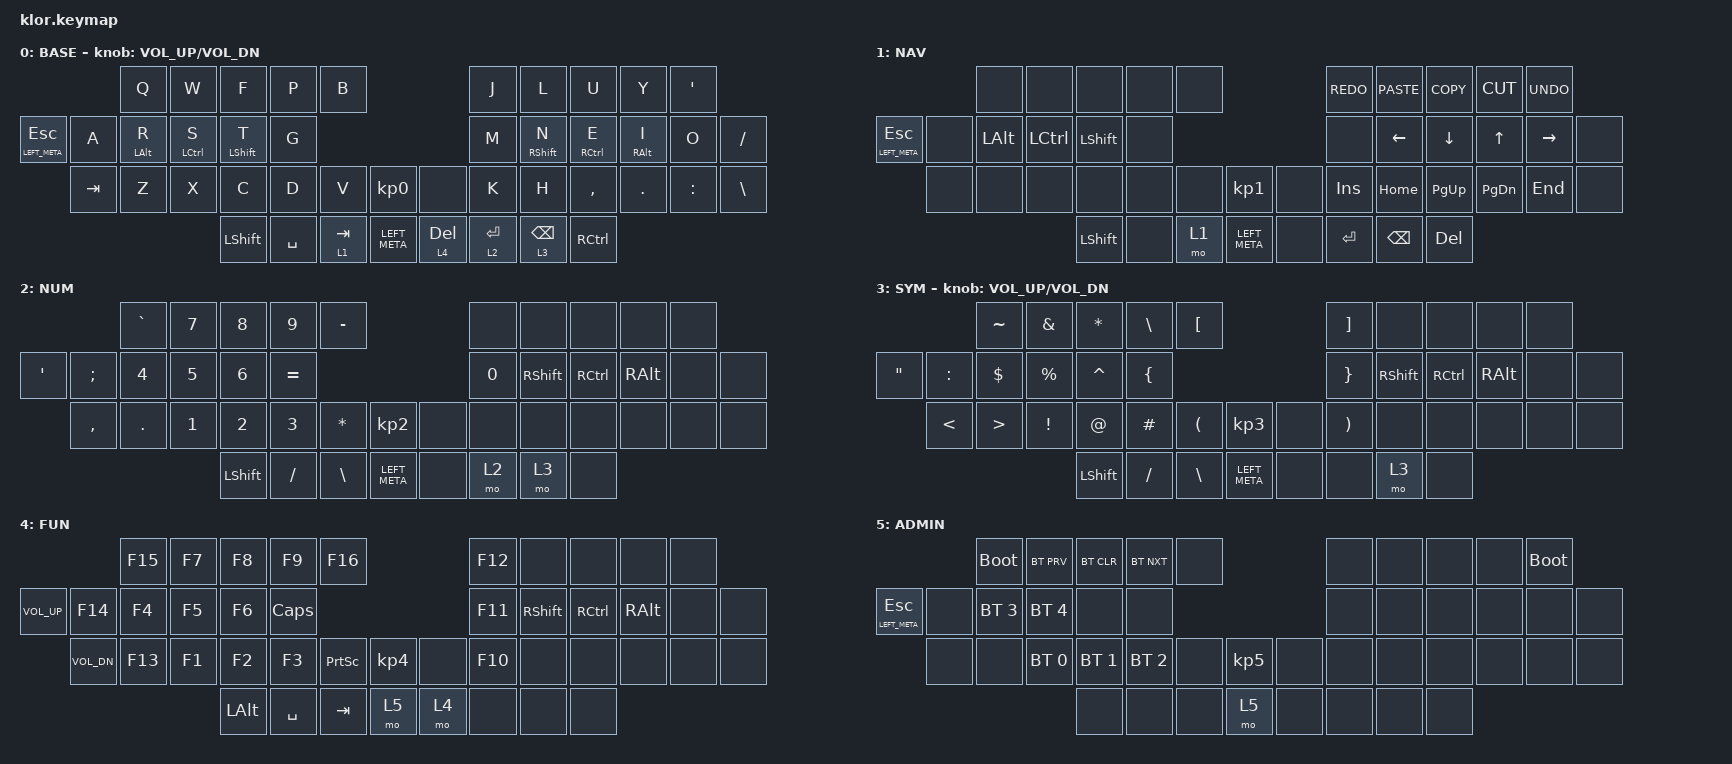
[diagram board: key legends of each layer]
//                               █         █    █            ▄▄▄▀▀▀▀▀▀▄▄▄        █▀▀▀▀▀▀▀▀▀▀█
//                               █        █     █          ▄▀            ▀▄      █          █
//                               █       █      █        ▄▀                ▀▄    █          █
//                               █      █       █        █                  █    █          █
//                               █     █        █       █                    █   █          █
//                               █    █         █       █                    █   █▄▄▄▄▄▄▄▄▄▄█
//                               █   █ █        █       █                    █   █      █
//                               █  █   █       █        █                  █    █       █
//                               █ █     █      █        ▀▄                ▄▀    █        █
//                               ██       █     █          ▀▄            ▄▀      █         █
//                               █         █    █▄▄▄▄▄▄▄▄    ▀▀▀▄▄▄▄▄▄▀▀▀        █          █
//
// ▄▄▄▄▄▄▄▄▄▄▄▄▄▄▄▄▄▄▄▄▄▄▄▄▄▄▄▄▄▄▄▄▄▄▄▄▄▄▄▄▄▄▄▄▄▄▄▄▄▄▄▄▄▄▄▄▄▄▄▄▄▄▄▄▄▄▄▄▄▄▄▄▄▄▄▄▄▄▄▄▄▄▄▄▄▄▄▄▄▄▄▄▄▄▄▄▄▄▄▄▄▄▄▄▄▄▄▄▄▄▄▄▄▄▄▄▄▄▄▄▄▄▄▄▄

#include <behaviors.dtsi>
#include <dt-bindings/zmk/bt.h>
#include <dt-bindings/zmk/keys.h>

#define BASE   0
#define LOWER  1
#define RAISE  2
#define ADJUST 3

/ {
    behaviors {
        hm: homerow_mods {
            compatible = "zmk,behavior-hold-tap";
            label = "HOMEROW_MODS";
            #binding-cells = <2>;
            tapping-term-ms = <150>;
            flavor = "tap-preferred";
            bindings =
                <&kp>,
                <&kp>;
        };
        mode_tap: mode_tap {
            compatible = "zmk,behavior-hold-tap";
            label = "MODE_TAP";
            bindings =
                <&mo>,
                <&kp>;

            #binding-cells = <2>;
            tapping-term-ms = <150>;
            flavor = "tap-preferred";
        };
    };

    combos {
        compatible = "zmk,combos";

        sys_reset {
            bindings = <&sys_reset>;
            key-positions = <10 22>;
            layers = <1 3 2 4 5>;
        };

        bootloader {
            bindings = <&bootloader>;
            key-positions = <11 23>;
            layers = <1 3 2 4 5>;
        };

        bt_clear {
            bindings = <&bt BT_CLR>;
            key-positions = <12 24>;
            layers = <1 3 2 4 5>;
        };
    };

    keymap {
        compatible = "zmk,keymap";

        // ▄▄▄▄▄▄▄▄▄▄▄▄▄▄▄▄▄▄▄▄▄▄▄▄▄▄▄▄▄▄▄▄▄▄▄▄▄▄▄▄▄▄▄▄▄▄▄▄▄▄▄▄▄▄▄▄▄▄▄▄▄▄▄▄▄▄▄▄▄▄▄▄▄▄▄▄▄▄▄▄▄▄▄▄▄▄▄▄▄▄▄▄▄▄▄▄▄▄▄▄▄▄▄▄▄▄▄▄▄▄▄▄▄▄▄▄▄▄▄▄▄▄▄▄▄▄▄▄▄▄▄▄▄▄▄▄▄▄▄▄▄▄

        base_layer {
            // ┌───────────────────────────────────────────────────────────┐

            label = "BASE";

            // └───────────────────────────────────────────────────────────┘
            /*           ┌─────────┬─────────┬─────────┬─────────┬─────────┐                    ┌─────────┬─────────┬─────────┬─────────┬─────────┐
             │    Q    │    W    │    F    │    P    │    G    │                    │    J    │    L    │    U    │    Y    │    ;    │   
   ┌─────────┼─────────┼─────────┼─────────┼─────────┼─────────┤                    ├─────────┼─────────┼─────────┼─────────┼─────────┼─────────┐
   │   TAB   │    A    │    R    │    S    │    T    │    D    │                    │    H    │    N    │    E    │    I    │    O    │    "    │
   ├─────────┼─────────┼─────────┼─────────┼─────────┼─────────┤╭────────╮╭────────╮├─────────┼─────────┼─────────┼─────────┼─────────┼─────────┤
   │   DEL   │    Z    │    X    │    C    │    V    │    B    ││  MUTE  ││PLY/PSE ││    K    │    M    │    ,    │    .    │    /    │    \    │
   └─────────┴─────────┴─────────┼─────────┼─────────┼─────────┼╰────────╯╰────────╯┼─────────┼─────────┼─────────┼─────────┴─────────┴─────────┘
                                 │  CTRL   │  LOWER  │  SPACE  │   ALT   ││ CMD/WIN │  ENTER  │  RAISE  │  BSPCE  │  
                                 └─────────┴─────────┴─────────┴─────────┘└─────────┴─────────┴─────────┴─────────┘ */

            bindings = <
                      &kp Q           &kp W        &kp F             &kp P            &kp B                                                 &kp J                  &kp L        &kp U            &kp Y    &kp SQT
&hm LEFT_META ESCAPE  &kp A  &hm LEFT_ALT R  &hm LCTRL S  &hm LEFT_SHIFT T            &kp G                                                 &kp M           &hm RSHIFT N  &hm RCTRL E  &hm RIGHT_ALT I      &kp O      &kp SLASH
             &kp TAB  &kp Z           &kp X        &kp C             &kp D            &kp V      &kp KP_N0               &none              &kp K                  &kp H    &kp COMMA          &kp DOT  &kp COLON  &kp BACKSLASH
                                               &kp LSHFT         &kp SPACE  &mode_tap 1 TAB  &kp LEFT_META  &mode_tap 4 DELETE  &mode_tap 2 ENTER  &mode_tap 3 BACKSPACE    &kp RCTRL
            >;

            sensor-bindings = <&inc_dec_kp C_VOL_UP C_VOL_DN>;
        };

        navigation {
            bindings = <
                      &none         &none      &none      &none  &none                          &kp K_REDO    &kp K_PASTE  &kp K_COPY      &kp K_CUT  &kp K_UNDO
&hm LEFT_META ESCAPE  &none  &kp LEFT_ALT  &kp LCTRL  &kp LSHFT  &none                               &none       &kp LEFT    &kp DOWN   &kp UP_ARROW   &kp RIGHT  &none
               &none  &none         &none      &none      &none  &none  &kp KP_NUMBER_1  &none  &kp INSERT       &kp HOME   &kp PG_UP  &kp PAGE_DOWN     &kp END  &none
                                           &kp LSHFT      &none  &mo 1    &kp LEFT_META  &none   &kp ENTER  &kp BACKSPACE  &kp DELETE
            >;

            label = "NAV";
        };

        numbers {
            bindings = <
               &kp GRAVE  &kp NUMBER_7  &kp NUMBER_8  &kp NUMBER_9      &kp MINUS                               &none      &none      &none          &none  &none
  &kp SQT  &kp SEMICOLON  &kp NUMBER_4  &kp NUMBER_5  &kp NUMBER_6      &kp EQUAL                        &kp NUMBER_0  &kp RSHFT  &kp RCTRL  &kp RIGHT_ALT  &none  &none
&kp COMMA     &kp PERIOD  &kp NUMBER_1  &kp NUMBER_2  &kp NUMBER_3      &kp ASTRK      &kp KP_N2  &none         &none      &none      &none          &none  &none  &none
                                           &kp LSHFT     &kp SLASH  &kp BACKSLASH  &kp LEFT_META  &none         &mo 2      &mo 3      &none
            >;

            label = "NUM";
        };

        symbols {
            // ┌───────────────────────────────────────────────────────────┐

            label = "SYM";

            // └───────────────────────────────────────────────────────────┘
            /*           ┌─────────┬─────────┬─────────┬─────────┬─────────┐                    ┌─────────┬─────────┬─────────┬─────────┬─────────┐
             │         │         │         │         │         │                    │         │         │         │         │         │
   ┌─────────┼─────────┼─────────┼─────────┼─────────┼─────────┤                    ├─────────┼─────────┼─────────┼─────────┼─────────┼─────────┐
   │         │         │         │         │         │         │                    │         │         │         │         │         │         │
   ├─────────┼─────────┼─────────┼─────────┼─────────┼─────────┤╭────────╮╭────────╮├─────────┼─────────┼─────────┼─────────┼─────────┼─────────┤
   │         │         │         │         │         │         ││        ││        ││         │         │         │         │         │         │
   └─────────┴─────────┴─────────┼─────────┼─────────┼─────────┼╰────────╯╰────────╯┼─────────┼─────────┼─────────┼─────────┴─────────┴─────────┘
                                 │         │         │         │         ││         │         │         │         │  
                                 └─────────┴─────────┴─────────┴─────────┘└─────────┴─────────┴─────────┴─────────┘ */

            bindings = <
                      &kp TILDE    &kp AMPERSAND  &kp ASTERISK  &kp BACKSLASH      &kp LEFT_BRACKET                              &kp RIGHT_BRACKET      &none              &none     &none  &none
      &kp DQT         &kp COLON       &kp DOLLAR   &kp PERCENT      &kp CARET        &kp LEFT_BRACE                                &kp RIGHT_BRACE  &kp RSHFT  &kp RIGHT_CONTROL  &kp RALT  &none  &none
&kp LESS_THAN  &kp GREATER_THAN  &kp EXCLAMATION   &kp AT_SIGN       &kp HASH  &kp LEFT_PARENTHESIS  &kp KP_NUMBER_3  &none  &kp RIGHT_PARENTHESIS      &none              &none     &none  &none  &none
                                                     &kp LSHFT       &kp FSLH         &kp BACKSLASH    &kp LEFT_META  &none                  &none      &mo 3              &none
            >;

            sensor-bindings = <&inc_dec_kp C_VOL_UP C_VOL_DN>;
        };

        fun {
            bindings = <
                 &kp F15  &kp F7        &kp F8     &kp F9          &kp F16                    &kp F12      &none              &none          &none  &none
&kp C_VOLUME_UP  &kp F14  &kp F4        &kp F5     &kp F6     &kp CAPSLOCK                    &kp F11  &kp RSHFT  &kp RIGHT_CONTROL  &kp RIGHT_ALT  &none  &none
   &kp C_VOL_DN  &kp F13  &kp F1        &kp F2     &kp F3  &kp PRINTSCREEN  &kp KP_N4  &none  &kp F10      &none              &none          &none  &none  &none
                                  &kp LEFT_ALT  &kp SPACE          &kp TAB      &mo 5  &mo 4    &none      &none              &none
            >;

            label = "FUN";
        };

        admin {
            bindings = <
                      &bootloader    &bt BT_PRV    &bt BT_CLR    &bt BT_NXT  &none                    &none  &none  &none  &none  &bootloader
&hm LEFT_META ESCAPE        &none  &bt BT_SEL 3  &bt BT_SEL 4         &none  &none                    &none  &none  &none  &none        &none  &none
               &none        &none  &bt BT_SEL 0  &bt BT_SEL 1  &bt BT_SEL 2  &none  &kp KP_N5  &none  &none  &none  &none  &none        &none  &none
                                                        &none         &none  &none      &mo 5  &none  &none  &none  &none
            >;

            label = "ADMIN";
        };
    };
};
